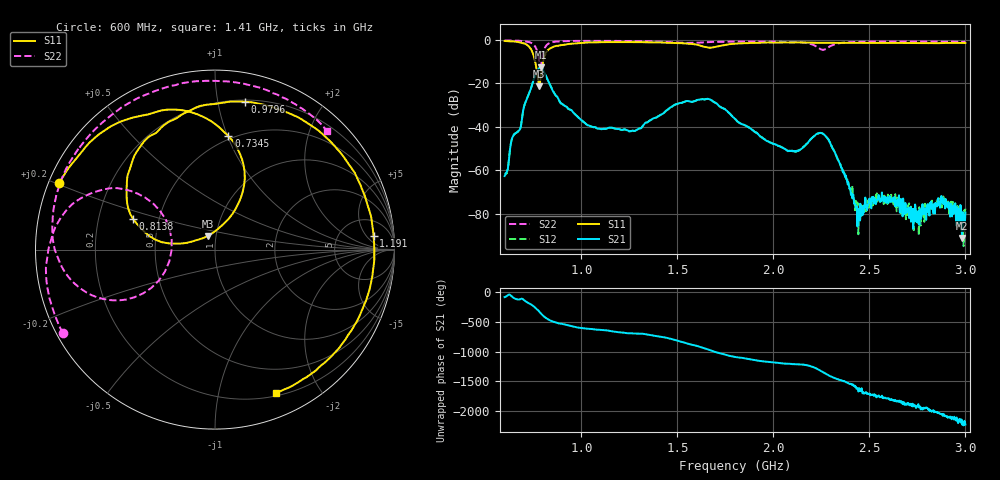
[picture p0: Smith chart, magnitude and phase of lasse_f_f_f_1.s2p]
#  HZ  S  RI  R  50.00
! Rohde & Schwarz ZVB8 2Ports - Version 2.81 - 1145.1010k08 SN: 100113
! Date: 2016-05-04 02:50:16
! Measurements: S11 S21 S12 S22
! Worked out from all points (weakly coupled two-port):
!   1000 points, 600 MHz to 3 GHz, reference 50 ohm
!   highest |S21| = -12.66 dB at 787.4 MHz (marker M1); lowest = -91.2 dB at 2.983 GHz (marker M2)
!   lowest |S11| = -21.4 dB at 780.2 MHz (marker M3), VSWR 1.19, Z = 45.7 + j7.02 ohm
!   |S11| at or under -10 dB: 758.9 MHz to 800.6 MHz (41.7 MHz wide, 5.35 % of centre)
!   |S22| runs from -12.3 to -0.3 dB; largest |S21 - S12| = 0.0041
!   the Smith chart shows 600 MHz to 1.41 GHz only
!   S11 on the Smith chart (normalised r, x): 600 MHz: 0.03, +0.20; 734.5 MHz: 0.47, +1.01; 813.8 MHz: 0.36, +0.16; 979.6 MHz: 0.21, +1.20; 1.191 GHz: 11, +8; 1.41 GHz: 0.23, -1.48
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6e8  -0.8666 0.3699  7.94e-05 -0.00073  0.000126 -0.000808  -0.8483 -0.4654
6.408408e8  -0.7164 0.5769  0.000802 -0.00563  0.000882 -0.00566  -0.9131 -0.3006
7.345345e8  0.0749 0.6322  -0.0656 0.0262  -0.0652 0.0262  -0.8402 0.2037
7.801802e8  -0.0389 0.0762  0.1835 0.1278  0.1834 0.1264  -0.275 0.169
7.873874e8  -0.1268 0.0453  0.2305 0.0322  0.2282 0.0355  -0.242 -0.00448
8.138138e8  -0.4551 0.1685  0.0485 -0.1435  0.0493 -0.1436  -0.6548 -0.2663
9.795796e8  0.1672 0.8237  -0.00995 0.0139  -0.00994 0.0137  -0.7629 0.5589
1.001201e9  0.2767 0.8061  -0.00618 0.0126  -0.0063 0.0126  -0.7178 0.6154
1.190991e9  0.8835 0.0778  0.00594 0.00664  0.00586 0.00667  -0.1286 0.9355
1.4e9  0.3802 -0.7816  0.016 -0.00677  0.016 -0.00672  0.6004 0.689
1.40961e9  0.3379 -0.7991  0.0163 -0.00869  0.0163 -0.00869  0.6254 0.6597
1.657057e9  -0.4832 -0.4642  -0.0214 0.0384  -0.0217 0.0382  0.8757 -0.1035
1.801201e9  -0.7774 -0.2521  0.0148 -0.00262  0.0148 -0.00249  0.6837 -0.6009
2.077477e9  -0.4796 0.7221  -0.00155 -0.00233  -0.00153 -0.0023  -0.2003 -0.8743
2.2e9  0.000733 0.856  -0.00543 -0.00085  -0.00539 -0.000792  -0.5246 -0.588
2.284084e9  0.3283 0.7877  0.00344 0.00389  0.0035 0.00405  -0.3611 -0.5552
2.442643e9  0.7957 0.3023  -7.74e-05 9.78e-05  -3.37e-05 3.56e-07  -0.8006 -0.407
2.601201e9  0.761 -0.3728  0.000194 4.84e-05  0.000241 6.23e-05  -0.9114 -0.0202
2.788589e9  0.1718 -0.8233  -8.64e-05 -4.2e-05  -0.000175 -3.54e-05  -0.8102 0.4019
2.87988e9  -0.1567 -0.8273  -7.2e-05 0.000168  -2.25e-05 0.0002  -0.6997 0.5699
2.983183e9  -0.5099 -0.6773  1.08e-05 -2.52e-05  1.87e-05 1.87e-05  -0.5272 0.7264
3e9  -0.5556 -0.6378  4.4e-05 -9.66e-05  6.43e-05 -0.000113  -0.4939 0.7503
